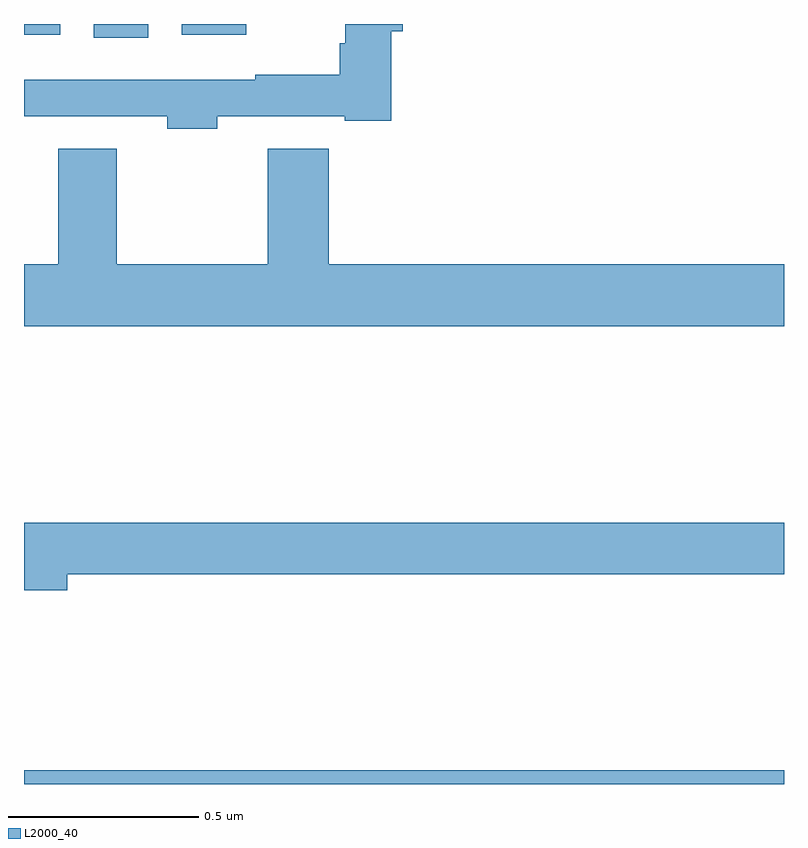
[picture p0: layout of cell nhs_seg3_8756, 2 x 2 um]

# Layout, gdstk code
import gdstk
lib = gdstk.Library(unit=1e-6, precision=1e-09)
def R(c, l, rs):  # rectangles x0, y0, x1, y1
    for r in rs: c.add(gdstk.rectangle(r[:2], r[2:], *l))
def P(c, l, *ps):  # polygons
    for p in ps: c.add(gdstk.Polygon(p, *l))
L2000_40 = (2000, 40)

nhs_seg3_8756 = lib.new_cell('nhs_seg3_8756')
R(nhs_seg3_8756, L2000_40, [(220,678.4,222,678.436), (220.184,680.364,220.327,680.4), (220,680.372,220.096,680.4), (220.415,680.372,220.585,680.4)])
P(nhs_seg3_8756, L2000_40, [(220.509,680.157),(220.844,680.157),(220.844,680.145),(220.967,680.145),(220.967,680.381),(220.997,680.381),(220.997,680.4),(220.846,680.4),(220.846,680.35),(220.831,680.35),(220.831,680.266),(220.609,680.266),(220.609,680.253),(220,680.253),(220,680.157),(220.377,680.157),(220.377,680.125),(220.509,680.125)],
  [(222,679.768),(220.802,679.768),(220.802,680.072),(220.642,680.072),(220.642,679.768),(220.244,679.768),(220.244,680.072),(220.09,680.072),(220.09,679.768),(220,679.768),(220,679.604),(222,679.604)],
  [(220.114,678.952),(222,678.952),(222,679.088),(220,679.088),(220,678.91),(220.114,678.91)])

lib.write_gds('nhs_seg3_8756.gds')
